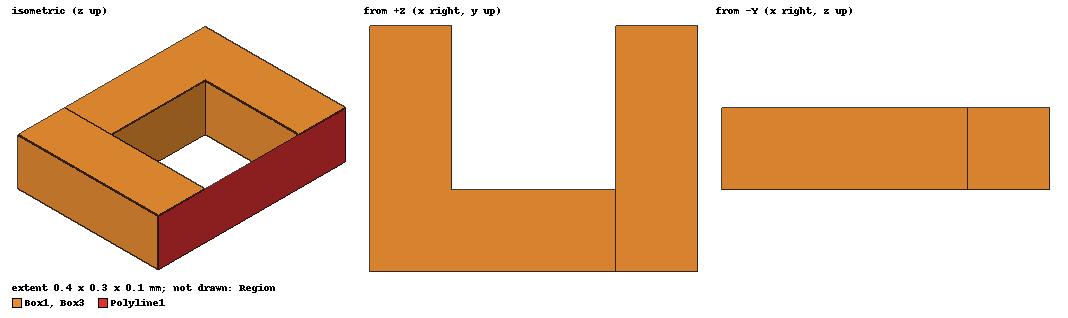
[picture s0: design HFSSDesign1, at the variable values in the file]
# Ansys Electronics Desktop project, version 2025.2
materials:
  vacuum: permittivity=1
  copper: permeability=0.999991 conductivity=58000000

design HFSSDesign1 (HFSS, HFSS Terminal Network, model units mm)
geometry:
  Box1 [copper] = box(corner=(-0.3mm, -0.2mm, 0mm), size=(0.1mm, 0.3mm, 0.1mm))
  Box2 = box(corner=(-0.2mm, -0.1mm, 0mm), size=(0.2mm, -0.1mm, 0.1mm))
  Box1.unite(Box2)
  Region [vacuum] = region(percentage_offset=300 on all sides)
  Box3 [copper] = box(corner=(0mm, -0.2mm, 0mm), size=(0.1mm, 0.3mm, 0.1mm))
  Polyline1 = polyline(y=0.1mm, xz in mm: (-0.3, 0.1) (-0.3, 0) (0.1, 0) (0.1, 0.1) (-0.3, 0.1), closed, covered)
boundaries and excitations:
  Box3_T1: Terminal port=1 Faces=Box3.face(+y) TerminalResistance=50ohm
  1: Lumped Port Faces=Polyline1.face LumpedPortType=Terminal Impedance=50ohm
  reference conductors: Box1
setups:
  Setup1: HfssDriven Frequency=0.5MHz MaxDeltaS=0.01 MaximumPasses=45 MinimumPasses=10 MinimumConvergedPasses=15 PercentRefinement=65 BasisOrder=1 PortAccuracy=2 DrivenSolverType="Direct Solver"
    sweep Sweep: 0.25MHz to 45MHz, 401 points; Type=Interpolating InterpTolerance=0.5 InterpMaxSolns=250 PassivityErrorTolerance=0.0001
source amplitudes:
  1:1: 1V 0deg
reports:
  Terminal Z Parameter Plot1: im(Zt(Box3_T1,Box3_T1)), re(Zt(Box3_T1,Box3_T1)), mag(Zt(Box3_T1,Box3_T1)) vs Freq on Setup1 : Sweep
  Terminal Z Parameter Table1: re(Zt(Box3_T1,Box3_T1)), mag(Zt(Box3_T1,Box3_T1)), im(Zt(Box3_T1,Box3_T1)) vs Freq on Setup1 : Sweep
